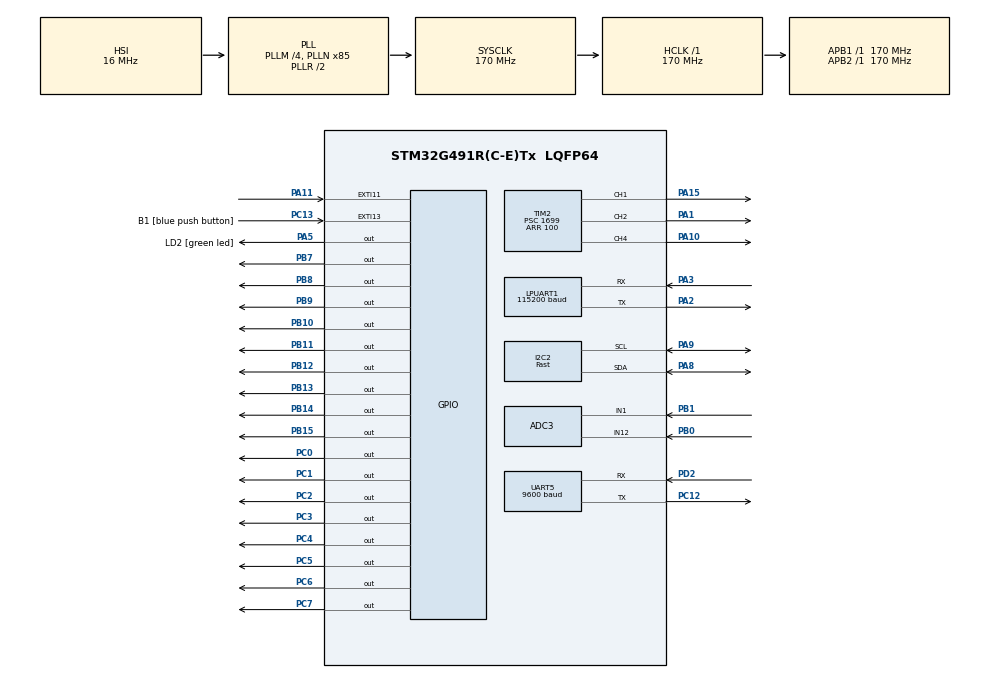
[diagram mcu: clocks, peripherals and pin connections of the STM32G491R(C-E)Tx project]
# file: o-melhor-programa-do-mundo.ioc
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ADC3.Channel-0\#ChannelRegularConversion=ADC_CHANNEL_1
ADC3.NbrOfConversionFlag=1
ADC3.OffsetNumber-0\#ChannelRegularConversion=ADC_OFFSET_NONE
ADC3.Rank-0\#ChannelRegularConversion=1
ADC3.SamplingTime-0\#ChannelRegularConversion=ADC_SAMPLETIME_2CYCLES_5
ADC3.master=1
I2C2.I2C_Speed_Mode=I2C_Fast
I2C2.Timing=0x40621236
LPUART1.BaudRate=115200
Mcu.Family=STM32G4
Mcu.Name=STM32G491R(C-E)Tx
Mcu.Package=LQFP64
NVIC.EXTI15_10_IRQn=true\:0\:0\:false\:false\:true\:true\:true\:true
NVIC.PriorityGroup=NVIC_PRIORITYGROUP_4
NVIC.UART5_IRQn=true\:0\:0\:false\:false\:true\:true\:true\:true
PA1.Signal=S_TIM2_CH2
PA10.Signal=S_TIM2_CH4
PA11.GPIO_ModeDefaultEXTI=GPIO_MODE_IT_FALLING
PA11.GPIO_PuPd=GPIO_PULLUP
PA11.Signal=GPXTI11
PA13.GPIO_Label=T_SWDIO
PA13.Signal=SYS_JTMS-SWDIO
PA14.GPIO_Label=T_SWCLK
PA14.Signal=SYS_JTCK-SWCLK
PA15.Signal=S_TIM2_CH1
PA2.Mode=Asynchronous
PA2.Signal=LPUART1_TX
PA3.Mode=Asynchronous
PA3.Signal=LPUART1_RX
PA5.GPIO_Label=LD2 [green led]
PA5.GPIO_PuPd=GPIO_NOPULL
PA5.Signal=GPIO_Output
PA8.Mode=I2C
PA8.Signal=I2C2_SDA
PA9.Mode=I2C
PA9.Signal=I2C2_SCL
PB0.Mode=IN12-Single-Ended
PB0.Signal=ADC3_IN12
PB1.Mode=IN1-Single-Ended
PB1.Signal=ADC3_IN1
PB10.Signal=GPIO_Output
PB11.Signal=GPIO_Output
PB12.Signal=GPIO_Output
PB13.Signal=GPIO_Output
PB14.Signal=GPIO_Output
PB15.Signal=GPIO_Output
PB3.GPIO_Label=T_SWO
PB3.Signal=SYS_JTDO-SWO
PB7.Signal=GPIO_Output
PB8-BOOT0.Signal=GPIO_Output
PB9.Signal=GPIO_Output
PC0.Signal=GPIO_Output
PC1.Signal=GPIO_Output
PC12.Mode=Asynchronous
PC12.Signal=UART5_TX
PC13.GPIO_Label=B1 [blue push button]
PC13.Signal=GPXTI13
PC14-OSC32_IN.GPIO_Label=RCC_OSC32_IN
PC14-OSC32_IN.Signal=RCC_OSC32_IN
PC15-OSC32_OUT.GPIO_Label=RCC_OSC32_OUT
PC15-OSC32_OUT.Signal=RCC_OSC32_OUT
PC2.Signal=GPIO_Output
PC3.Signal=GPIO_Output
PC4.Signal=GPIO_Output
PC5.Signal=GPIO_Output
PC6.Signal=GPIO_Output
PC7.Signal=GPIO_Output
PD2.Mode=Asynchronous
PD2.Signal=UART5_RX
PF0-OSC_IN.GPIO_Label=RCC_OSC_IN
PF0-OSC_IN.Signal=RCC_OSC_IN
PF1-OSC_OUT.GPIO_Label=RCC_OSC_OUT
PF1-OSC_OUT.Signal=RCC_OSC_OUT
ProjectManager.HeapSize=0x200
ProjectManager.StackSize=0x400
ProjectManager.TargetToolchain=STM32CubeIDE
RCC.ADC12Freq_Value=170000000
RCC.ADC345Freq_Value=170000000
RCC.AHBFreq_Value=170000000
RCC.APB1Freq_Value=170000000
RCC.APB1TimFreq_Value=170000000
RCC.APB2Freq_Value=170000000
RCC.APB2TimFreq_Value=170000000
RCC.CortexFreq_Value=170000000
RCC.EXTERNAL_CLOCK_VALUE=12288000
RCC.HCLKFreq_Value=170000000
RCC.HSE_VALUE=24000000
RCC.HSI48_VALUE=48000000
RCC.HSI_VALUE=16000000
RCC.LSE_VALUE=32768
RCC.PLLM=RCC_PLLM_DIV4
RCC.PLLN=85
RCC.RTCClockSelection=RCC_RTCCLKSOURCE_LSE
RCC.SYSCLKFreq_VALUE=170000000
RCC.SYSCLKSource=RCC_SYSCLKSOURCE_PLLCLK
RCC.USBFreq_Value=48000000
RCC.VCOOutputFreq_Value=340000000
SH.S_TIM2_CH1.0=TIM2_CH1,PWM Generation1 CH1
SH.S_TIM2_CH2.0=TIM2_CH2,PWM Generation2 CH2
SH.S_TIM2_CH4.0=TIM2_CH4,PWM Generation4 CH4
TIM2.Channel-PWM\ Generation1\ CH1=TIM_CHANNEL_1
TIM2.Channel-PWM\ Generation2\ CH2=TIM_CHANNEL_2
TIM2.Channel-PWM\ Generation4\ CH4=TIM_CHANNEL_4
TIM2.PeriodNoDither=100
TIM2.Prescaler=1699
TIM2.PulseNoDither_1=499
TIM2.PulseNoDither_2=0
TIM2.PulseNoDither_4=499
UART5.BaudRate=9600
VP_SYS_VS_DBSignals.Mode=DisableDeadBatterySignals
VP_TIM2_VS_ClockSourceINT.Mode=Internal
board=NUCLEO-G491RE

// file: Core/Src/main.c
/* USER CODE BEGIN Header */
/**
 ******************************************************************************
 * @file           : main.c
 * @brief          : Main program body
 ******************************************************************************
 */
/* USER CODE END Header */
#include "main.h"

/* USER CODE BEGIN Includes */
#include "main.h"
#include "leds.h"
#include "ssd1306.h"
#include "fonts.h"
#include <stdio.h>
#include <string.h>
#include "oled.h"
#include "write-letters.h"
#include "square2.h"
#include "bluetooth.h"
/* USER CODE END Includes */

/* USER CODE BEGIN PTD */
#define RX_BUFFER_SIZE 32
#define OLED_CHANGE_THRESHOLD 2 /* Atualiza OLED a cada N mudanças de posição */
#define OLED_MIN_INTERVAL_MS 50 /* Intervalo mínimo entre updates do OLED (ms) */
/* USER CODE END PTD */

ADC_HandleTypeDef hadc3;

I2C_HandleTypeDef hi2c2;

UART_HandleTypeDef hlpuart1;
UART_HandleTypeDef huart5;

TIM_HandleTypeDef htim2;

/* USER CODE BEGIN PV */

uint8_t rx_byte;
char rx_buffer[32];
uint8_t rx_index = 0;
volatile uint8_t duty_r = 0, duty_g = 0, duty_b = 0;
volatile uint8_t update_display = 1;
uint32_t adc_val_x = 0, adc_val_y = 0;
uint8_t pos_x = 0, pos_y = 0;
char msg_buffer[100];

/* Controle de atualização do OLED por contagem de mudanças */
static uint8_t pos_x_prev = 0xFF; /* Valor impossível para forçar 1ª atualização */
static uint8_t pos_y_prev = 0xFF;
static uint8_t change_count = 0;
static uint32_t last_oled_ms = 0;

/* USER CODE END PV */

void SystemClock_Config(void);
static void MX_GPIO_Init(void);
static void MX_TIM2_Init(void);
static void MX_I2C2_Init(void);
static void MX_UART5_Init(void);
static void MX_ADC3_Init(void);
static void MX_LPUART1_UART_Init(void);

/* USER CODE BEGIN 0 */

/* Callback de recepção da UART */
void HAL_UART_RxCpltCallback(UART_HandleTypeDef *huart)
{
  if (huart->Instance == UART5)
  {
    if (rx_byte == '\n' || rx_byte == '\r')
    {
      rx_buffer[rx_index] = '\0';
      bluetoothCommand(rx_buffer, &duty_r, &duty_g, &duty_b, &update_display);
      rx_index = 0;
    }
    else
    {
      if (rx_byte != '%')
        rx_buffer[rx_index++] = rx_byte;
      if (rx_index >= RX_BUFFER_SIZE - 1)
        rx_index = 0;
    }
    HAL_UART_Receive_IT(&huart5, &rx_byte, 1);
  }
}

/* Interrupção externa PA11 — botão de reset de cor */
void HAL_GPIO_EXTI_Callback(uint16_t GPIO_Pin)
{
  if (GPIO_Pin == GPIO_PIN_11)
  {
    duty_r = 0;
    duty_g = 0;
    duty_b = 0;

    __HAL_TIM_SET_COMPARE(&htim2, TIM_CHANNEL_1, 0);
    __HAL_TIM_SET_COMPARE(&htim2, TIM_CHANNEL_2, 0);
    __HAL_TIM_SET_COMPARE(&htim2, TIM_CHANNEL_4, 0);

    update_display = 1;
  }
}

/* USER CODE END 0 */

int main(void)
{

  /* MCU Configuration--------------------------------------------------------*/

  /* Reset of all peripherals, Initializes the Flash interface and the Systick. */
  HAL_Init();

  /* Configure the system clock */
  SystemClock_Config();

  /* Initialize all configured peripherals */
  MX_GPIO_Init();
  MX_TIM2_Init();
  MX_I2C2_Init();
  MX_UART5_Init();
  MX_ADC3_Init();
  MX_LPUART1_UART_Init();
  /* USER CODE BEGIN 2 */
  SSD1306_Init();
  SSD1306_Clear();
  SSD1306_UpdateScreen();

  /* Inicia os canais PWM */
  HAL_TIM_PWM_Start(&htim2, TIM_CHANNEL_1); /* RED   */
  HAL_TIM_PWM_Start(&htim2, TIM_CHANNEL_2); /* GREEN */
  HAL_TIM_PWM_Start(&htim2, TIM_CHANNEL_4); /* BLUE  */

  __HAL_TIM_SET_COMPARE(&htim2, TIM_CHANNEL_1, duty_r);
  __HAL_TIM_SET_COMPARE(&htim2, TIM_CHANNEL_2, duty_g);
  __HAL_TIM_SET_COMPARE(&htim2, TIM_CHANNEL_4, duty_b);

  /* Inicia recepção UART por interrupção */
  HAL_UART_Receive_IT(&huart5, &rx_byte, 1);

  /* Calibra ADC3 */
  HAL_ADCEx_Calibration_Start(&hadc3, ADC_SINGLE_ENDED);
  /* USER CODE END 2 */

  /* Infinite loop */
  /* USER CODE BEGIN WHILE */
  ADC_ChannelConfTypeDef sConfig = {0};

  while (1)
  {

    // testMatrix();
    /* ---- 1. ADC X (canal 1) ---- */
    sConfig.Channel = ADC_CHANNEL_1;
    sConfig.Rank = ADC_REGULAR_RANK_1;
    sConfig.SamplingTime = ADC_SAMPLETIME_2CYCLES_5;
    sConfig.SingleDiff = ADC_SINGLE_ENDED;
    sConfig.OffsetNumber = ADC_OFFSET_NONE;
    sConfig.Offset = 0;
    HAL_ADC_ConfigChannel(&hadc3, &sConfig);
    HAL_ADC_Start(&hadc3);
    HAL_ADC_PollForConversion(&hadc3, 10);
    adc_val_y = HAL_ADC_GetValue(&hadc3);
    HAL_ADC_Stop(&hadc3);

    /* ---- 2. ADC Y (canal 12) ---- */
    sConfig.Channel = ADC_CHANNEL_12;
    HAL_ADC_ConfigChannel(&hadc3, &sConfig);
    HAL_ADC_Start(&hadc3);
    HAL_ADC_PollForConversion(&hadc3, 10);
    adc_val_x = HAL_ADC_GetValue(&hadc3);
    HAL_ADC_Stop(&hadc3);

    /* ---- 3. Mapeamento ADC -> posicao (0-6) ---- */
    pos_x = (uint8_t)(((adc_val_x * 6U) + 2047U) / 4095U);
    pos_y = (uint8_t)(6U - (((adc_val_y * 6U) + 2047U) / 4095U));
    if (pos_x > 6)
      pos_x = 6;
    if (pos_y > 6)
      pos_y = 6;

    /* ---- 4. MATRIZ (prioridade maxima, sem condicao de tempo) ---- */
    Draw_Square_2x2(pos_x, pos_y);

    /* ------------------------------------------------------------------ */
    /* 5. ATUALIZAR OLED — só quando houver N mudanças de posição         */
    /*    E respeitando um intervalo mínimo para não sobrecarregar o I2C. */
    /* ------------------------------------------------------------------ */

    /* Detecta mudança real de posição */
    if (pos_x != pos_x_prev || pos_y != pos_y_prev)
    {
      pos_x_prev = pos_x;
      pos_y_prev = pos_y;
      change_count++;
    }

    /* Atualiza OLED se atingiu o threshold de mudanças
       E se já passou o intervalo mínimo desde o último update */
    if (change_count >= OLED_CHANGE_THRESHOLD &&
        (HAL_GetTick() - last_oled_ms) >= OLED_MIN_INTERVAL_MS)
    {
      last_oled_ms = HAL_GetTick();
      change_count = 0;

      SSD1306_Clear();

      sprintf(msg_buffer, "ADC X: %lu", adc_val_x);
      SSD1306_GotoXY(5, 5);
      SSD1306_Puts(msg_buffer, &Font_7x10, SSD1306_COLOR_WHITE);

      sprintf(msg_buffer, "ADC Y: %lu", adc_val_y);
      SSD1306_GotoXY(5, 20);
      SSD1306_Puts(msg_buffer, &Font_7x10, SSD1306_COLOR_WHITE);

      sprintf(msg_buffer, "Pos: (%d,%d)", pos_x, pos_y);
      SSD1306_GotoXY(5, 35);
      SSD1306_Puts(msg_buffer, &Font_7x10, SSD1306_COLOR_WHITE);

      SSD1306_UpdateScreen();
    }

    sprintf(msg_buffer, "X:%04lu Y:%04lu P:(%d,%d)\r\n",
            adc_val_x, adc_val_y, pos_x, pos_y);

    /* 2. Enviar pela LPUART1 */
    HAL_UART_Transmit(&hlpuart1, (uint8_t *)msg_buffer, strlen(msg_buffer), 100);

    /* USER CODE END WHILE */

  }
}

void SystemClock_Config(void)
{
  RCC_OscInitTypeDef RCC_OscInitStruct = {0};
  RCC_ClkInitTypeDef RCC_ClkInitStruct = {0};

  /** Configure the main internal regulator output voltage
   */
  HAL_PWREx_ControlVoltageScaling(PWR_REGULATOR_VOLTAGE_SCALE1_BOOST);

  /** Initializes the RCC Oscillators according to the specified parameters
   * in the RCC_OscInitTypeDef structure.
   */
  RCC_OscInitStruct.OscillatorType = RCC_OSCILLATORTYPE_HSI;
  RCC_OscInitStruct.HSIState = RCC_HSI_ON;
  RCC_OscInitStruct.HSICalibrationValue = RCC_HSICALIBRATION_DEFAULT;
  RCC_OscInitStruct.PLL.PLLState = RCC_PLL_ON;
  RCC_OscInitStruct.PLL.PLLSource = RCC_PLLSOURCE_HSI;
  RCC_OscInitStruct.PLL.PLLM = RCC_PLLM_DIV4;
  RCC_OscInitStruct.PLL.PLLN = 85;
  RCC_OscInitStruct.PLL.PLLP = RCC_PLLP_DIV2;
  RCC_OscInitStruct.PLL.PLLQ = RCC_PLLQ_DIV2;
  RCC_OscInitStruct.PLL.PLLR = RCC_PLLR_DIV2;
  if (HAL_RCC_OscConfig(&RCC_OscInitStruct) != HAL_OK)
  {
    Error_Handler();
  }

  /** Initializes the CPU, AHB and APB buses clocks
   */
  RCC_ClkInitStruct.ClockType = RCC_CLOCKTYPE_HCLK | RCC_CLOCKTYPE_SYSCLK | RCC_CLOCKTYPE_PCLK1 | RCC_CLOCKTYPE_PCLK2;
  RCC_ClkInitStruct.SYSCLKSource = RCC_SYSCLKSOURCE_PLLCLK;
  RCC_ClkInitStruct.AHBCLKDivider = RCC_SYSCLK_DIV1;
  RCC_ClkInitStruct.APB1CLKDivider = RCC_HCLK_DIV1;
  RCC_ClkInitStruct.APB2CLKDivider = RCC_HCLK_DIV1;

  if (HAL_RCC_ClockConfig(&RCC_ClkInitStruct, FLASH_LATENCY_4) != HAL_OK)
  {
    Error_Handler();
  }
}

static void MX_ADC3_Init(void)
{

  ADC_ChannelConfTypeDef sConfig = {0};

  /** Common config
   */
  hadc3.Instance = ADC3;
  hadc3.Init.ClockPrescaler = ADC_CLOCK_SYNC_PCLK_DIV4;
  hadc3.Init.Resolution = ADC_RESOLUTION_12B;
  hadc3.Init.DataAlign = ADC_DATAALIGN_RIGHT;
  hadc3.Init.GainCompensation = 0;
  hadc3.Init.ScanConvMode = ADC_SCAN_DISABLE;
  hadc3.Init.EOCSelection = ADC_EOC_SINGLE_CONV;
  hadc3.Init.LowPowerAutoWait = DISABLE;
  hadc3.Init.ContinuousConvMode = DISABLE;
  hadc3.Init.NbrOfConversion = 1;
  hadc3.Init.DiscontinuousConvMode = DISABLE;
  hadc3.Init.ExternalTrigConv = ADC_SOFTWARE_START;
  hadc3.Init.ExternalTrigConvEdge = ADC_EXTERNALTRIGCONVEDGE_NONE;
  hadc3.Init.DMAContinuousRequests = DISABLE;
  hadc3.Init.Overrun = ADC_OVR_DATA_PRESERVED;
  hadc3.Init.OversamplingMode = DISABLE;
  if (HAL_ADC_Init(&hadc3) != HAL_OK)
  {
    Error_Handler();
  }

  /** Configure Regular Channel
   */
  sConfig.Channel = ADC_CHANNEL_1;
  sConfig.Rank = ADC_REGULAR_RANK_1;
  sConfig.SamplingTime = ADC_SAMPLETIME_2CYCLES_5;
  sConfig.SingleDiff = ADC_SINGLE_ENDED;
  sConfig.OffsetNumber = ADC_OFFSET_NONE;
  sConfig.Offset = 0;
  if (HAL_ADC_ConfigChannel(&hadc3, &sConfig) != HAL_OK)
  {
    Error_Handler();
  }
}

static void MX_I2C2_Init(void)
{

  hi2c2.Instance = I2C2;
  hi2c2.Init.Timing = 0x40621236;
  hi2c2.Init.OwnAddress1 = 0;
  hi2c2.Init.AddressingMode = I2C_ADDRESSINGMODE_7BIT;
  hi2c2.Init.DualAddressMode = I2C_DUALADDRESS_DISABLE;
  hi2c2.Init.OwnAddress2 = 0;
  hi2c2.Init.OwnAddress2Masks = I2C_OA2_NOMASK;
  hi2c2.Init.GeneralCallMode = I2C_GENERALCALL_DISABLE;
  hi2c2.Init.NoStretchMode = I2C_NOSTRETCH_DISABLE;
  if (HAL_I2C_Init(&hi2c2) != HAL_OK)
  {
    Error_Handler();
  }

  /** Configure Analogue filter
   */
  if (HAL_I2CEx_ConfigAnalogFilter(&hi2c2, I2C_ANALOGFILTER_ENABLE) != HAL_OK)
  {
    Error_Handler();
  }

  /** Configure Digital filter
   */
  if (HAL_I2CEx_ConfigDigitalFilter(&hi2c2, 0) != HAL_OK)
  {
    Error_Handler();
  }
}

static void MX_LPUART1_UART_Init(void)
{

  hlpuart1.Instance = LPUART1;
  hlpuart1.Init.BaudRate = 115200;
  hlpuart1.Init.WordLength = UART_WORDLENGTH_8B;
  hlpuart1.Init.StopBits = UART_STOPBITS_1;
  hlpuart1.Init.Parity = UART_PARITY_NONE;
  hlpuart1.Init.Mode = UART_MODE_TX_RX;
  hlpuart1.Init.HwFlowCtl = UART_HWCONTROL_NONE;
  hlpuart1.Init.OneBitSampling = UART_ONE_BIT_SAMPLE_DISABLE;
  hlpuart1.Init.ClockPrescaler = UART_PRESCALER_DIV1;
  hlpuart1.AdvancedInit.AdvFeatureInit = UART_ADVFEATURE_NO_INIT;
  if (HAL_UART_Init(&hlpuart1) != HAL_OK)
  {
    Error_Handler();
  }
  if (HAL_UARTEx_SetTxFifoThreshold(&hlpuart1, UART_TXFIFO_THRESHOLD_1_8) != HAL_OK)
  {
    Error_Handler();
  }
  if (HAL_UARTEx_SetRxFifoThreshold(&hlpuart1, UART_RXFIFO_THRESHOLD_1_8) != HAL_OK)
  {
    Error_Handler();
  }
  if (HAL_UARTEx_DisableFifoMode(&hlpuart1) != HAL_OK)
  {
    Error_Handler();
  }
}

static void MX_UART5_Init(void)
{

  huart5.Instance = UART5;
  huart5.Init.BaudRate = 9600;
  huart5.Init.WordLength = UART_WORDLENGTH_8B;
  huart5.Init.StopBits = UART_STOPBITS_1;
  huart5.Init.Parity = UART_PARITY_NONE;
  huart5.Init.Mode = UART_MODE_TX_RX;
  huart5.Init.HwFlowCtl = UART_HWCONTROL_NONE;
  huart5.Init.OverSampling = UART_OVERSAMPLING_16;
  huart5.Init.OneBitSampling = UART_ONE_BIT_SAMPLE_DISABLE;
  huart5.Init.ClockPrescaler = UART_PRESCALER_DIV1;
  huart5.AdvancedInit.AdvFeatureInit = UART_ADVFEATURE_NO_INIT;
  if (HAL_UART_Init(&huart5) != HAL_OK)
  {
    Error_Handler();
  }
  if (HAL_UARTEx_SetTxFifoThreshold(&huart5, UART_TXFIFO_THRESHOLD_1_8) != HAL_OK)
  {
    Error_Handler();
  }
  if (HAL_UARTEx_SetRxFifoThreshold(&huart5, UART_RXFIFO_THRESHOLD_1_8) != HAL_OK)
  {
    Error_Handler();
  }
  if (HAL_UARTEx_DisableFifoMode(&huart5) != HAL_OK)
  {
    Error_Handler();
  }
}

static void MX_TIM2_Init(void)
{

  TIM_ClockConfigTypeDef sClockSourceConfig = {0};
  TIM_MasterConfigTypeDef sMasterConfig = {0};
  TIM_OC_InitTypeDef sConfigOC = {0};

  htim2.Instance = TIM2;
  htim2.Init.Prescaler = 1699;
  htim2.Init.CounterMode = TIM_COUNTERMODE_UP;
  htim2.Init.Period = 100;
  htim2.Init.ClockDivision = TIM_CLOCKDIVISION_DIV1;
  htim2.Init.AutoReloadPreload = TIM_AUTORELOAD_PRELOAD_DISABLE;
  if (HAL_TIM_Base_Init(&htim2) != HAL_OK)
  {
    Error_Handler();
  }
  sClockSourceConfig.ClockSource = TIM_CLOCKSOURCE_INTERNAL;
  if (HAL_TIM_ConfigClockSource(&htim2, &sClockSourceConfig) != HAL_OK)
  {
    Error_Handler();
  }
  if (HAL_TIM_PWM_Init(&htim2) != HAL_OK)
  {
    Error_Handler();
  }
  sMasterConfig.MasterOutputTrigger = TIM_TRGO_RESET;
  sMasterConfig.MasterSlaveMode = TIM_MASTERSLAVEMODE_DISABLE;
  if (HAL_TIMEx_MasterConfigSynchronization(&htim2, &sMasterConfig) != HAL_OK)
  {
    Error_Handler();
  }
  sConfigOC.OCMode = TIM_OCMODE_PWM1;
  sConfigOC.Pulse = 499;
  sConfigOC.OCPolarity = TIM_OCPOLARITY_HIGH;
  sConfigOC.OCFastMode = TIM_OCFAST_DISABLE;
  if (HAL_TIM_PWM_ConfigChannel(&htim2, &sConfigOC, TIM_CHANNEL_1) != HAL_OK)
  {
    Error_Handler();
  }
  sConfigOC.Pulse = 0;
  if (HAL_TIM_PWM_ConfigChannel(&htim2, &sConfigOC, TIM_CHANNEL_2) != HAL_OK)
  {
    Error_Handler();
  }
  sConfigOC.Pulse = 499;
  if (HAL_TIM_PWM_ConfigChannel(&htim2, &sConfigOC, TIM_CHANNEL_4) != HAL_OK)
  {
    Error_Handler();
  }
  HAL_TIM_MspPostInit(&htim2);
}

static void MX_GPIO_Init(void)
{
  GPIO_InitTypeDef GPIO_InitStruct = {0};

  /* GPIO Ports Clock Enable */
  __HAL_RCC_GPIOC_CLK_ENABLE();
  __HAL_RCC_GPIOF_CLK_ENABLE();
  __HAL_RCC_GPIOA_CLK_ENABLE();
  __HAL_RCC_GPIOB_CLK_ENABLE();
  __HAL_RCC_GPIOD_CLK_ENABLE();

  /*Configure GPIO pin Output Level */
  HAL_GPIO_WritePin(GPIOC, GPIO_PIN_0 | GPIO_PIN_1 | GPIO_PIN_2 | GPIO_PIN_3 | GPIO_PIN_4 | GPIO_PIN_5 | GPIO_PIN_6 | GPIO_PIN_7, GPIO_PIN_RESET);

  /*Configure GPIO pin Output Level */
  HAL_GPIO_WritePin(LD2_GPIO_Port, LD2_Pin, GPIO_PIN_RESET);

  /*Configure GPIO pin Output Level */
  HAL_GPIO_WritePin(GPIOB, GPIO_PIN_10 | GPIO_PIN_11 | GPIO_PIN_12 | GPIO_PIN_13 | GPIO_PIN_14 | GPIO_PIN_15 | GPIO_PIN_7 | GPIO_PIN_8 | GPIO_PIN_9, GPIO_PIN_RESET);

  /*Configure GPIO pin : B1_Pin */
  GPIO_InitStruct.Pin = B1_Pin;
  GPIO_InitStruct.Mode = GPIO_MODE_IT_RISING;
  GPIO_InitStruct.Pull = GPIO_NOPULL;
  HAL_GPIO_Init(B1_GPIO_Port, &GPIO_InitStruct);

  /*Configure GPIO pins : PC0 PC1 PC2 PC3
                           PC4 PC5 PC6 PC7 */
  GPIO_InitStruct.Pin = GPIO_PIN_0 | GPIO_PIN_1 | GPIO_PIN_2 | GPIO_PIN_3 | GPIO_PIN_4 | GPIO_PIN_5 | GPIO_PIN_6 | GPIO_PIN_7;
  GPIO_InitStruct.Mode = GPIO_MODE_OUTPUT_PP;
  GPIO_InitStruct.Pull = GPIO_NOPULL;
  GPIO_InitStruct.Speed = GPIO_SPEED_FREQ_LOW;
  HAL_GPIO_Init(GPIOC, &GPIO_InitStruct);

  /*Configure GPIO pin : LD2_Pin */
  GPIO_InitStruct.Pin = LD2_Pin;
  GPIO_InitStruct.Mode = GPIO_MODE_OUTPUT_PP;
  GPIO_InitStruct.Pull = GPIO_NOPULL;
  GPIO_InitStruct.Speed = GPIO_SPEED_FREQ_LOW;
  HAL_GPIO_Init(LD2_GPIO_Port, &GPIO_InitStruct);

  /*Configure GPIO pins : PB10 PB11 PB12 PB13
                           PB14 PB15 PB7 PB8
                           PB9 */
  GPIO_InitStruct.Pin = GPIO_PIN_10 | GPIO_PIN_11 | GPIO_PIN_12 | GPIO_PIN_13 | GPIO_PIN_14 | GPIO_PIN_15 | GPIO_PIN_7 | GPIO_PIN_8 | GPIO_PIN_9;
  GPIO_InitStruct.Mode = GPIO_MODE_OUTPUT_PP;
  GPIO_InitStruct.Pull = GPIO_NOPULL;
  GPIO_InitStruct.Speed = GPIO_SPEED_FREQ_LOW;
  HAL_GPIO_Init(GPIOB, &GPIO_InitStruct);

  /*Configure GPIO pin : PA11 */
  GPIO_InitStruct.Pin = GPIO_PIN_11;
  GPIO_InitStruct.Mode = GPIO_MODE_IT_FALLING;
  GPIO_InitStruct.Pull = GPIO_PULLUP;
  HAL_GPIO_Init(GPIOA, &GPIO_InitStruct);

  /* EXTI interrupt init*/
  HAL_NVIC_SetPriority(EXTI15_10_IRQn, 0, 0);
  HAL_NVIC_EnableIRQ(EXTI15_10_IRQn);

}

void Error_Handler(void)
{
  __disable_irq();
  while (1)
  {
  }
}
